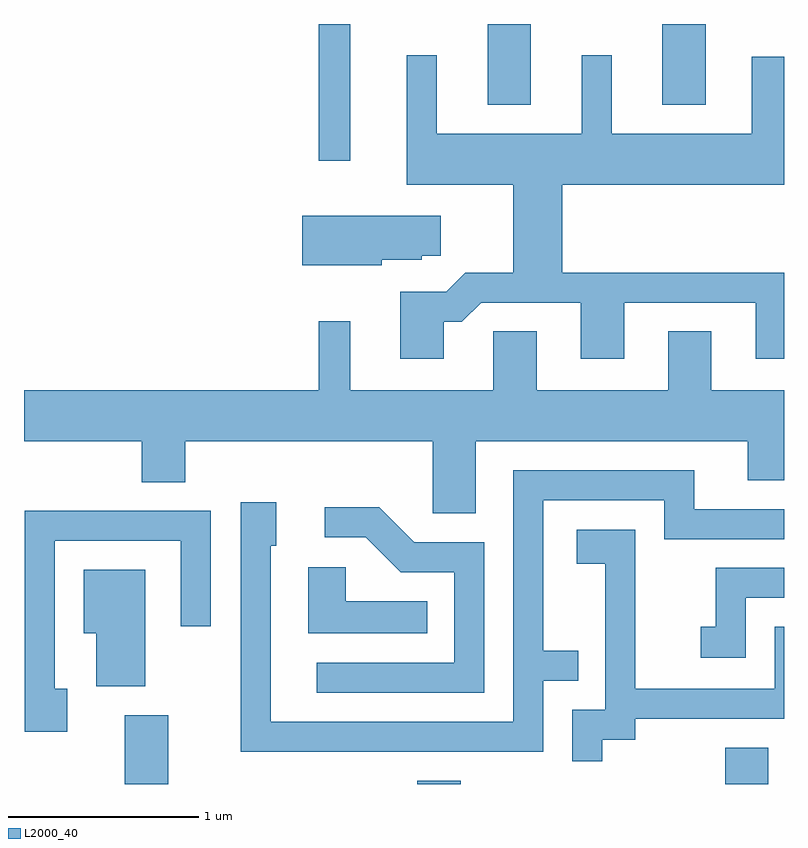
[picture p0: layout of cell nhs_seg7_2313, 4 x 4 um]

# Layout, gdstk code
import gdstk
lib = gdstk.Library(unit=1e-6, precision=1e-09)
def R(c, l, rs):  # rectangles x0, y0, x1, y1
    for r in rs: c.add(gdstk.rectangle(r[:2], r[2:], *l))
def P(c, l, *ps):  # polygons
    for p in ps: c.add(gdstk.Polygon(p, *l))
L2000_40 = (2000, 40)

nhs_seg7_2313 = lib.new_cell('nhs_seg7_2313')
R(nhs_seg7_2313, L2000_40, [(256.141,1750.252,256.369,1750.614), (257.681,1750.252,257.909,1750.269), (259.301,1750.252,259.529,1750.444), (257.161,1753.533,257.329,1754.252), (258.051,1753.826,258.279,1754.252), (258.971,1753.826,259.199,1754.252)])
P(nhs_seg7_2313, L2000_40, [(257.819,1752.686),(257.916,1752.686),(258.017,1752.786),(258.541,1752.786),(258.541,1752.491),(258.769,1752.491),(258.769,1752.786),(259.461,1752.786),(259.461,1752.491),(259.611,1752.491),(259.611,1752.944),(258.444,1752.944),(258.444,1753.406),(259.611,1753.406),(259.611,1754.079),(259.441,1754.079),(259.441,1753.674),(258.704,1753.674),(258.704,1754.088),(258.546,1754.088),(258.546,1753.674),(257.784,1753.674),(257.784,1754.088),(257.626,1754.088),(257.626,1753.406),(258.186,1753.406),(258.186,1752.944),(257.933,1752.944),(257.834,1752.844),(257.591,1752.844),(257.591,1752.491),(257.819,1752.491)],
  [(257.494,1753.011),(257.704,1753.011),(257.704,1753.031),(257.804,1753.031),(257.804,1753.244),(257.076,1753.244),(257.076,1752.981),(257.494,1752.981)],
  [(257.989,1752.056),(259.421,1752.056),(259.421,1751.851),(259.611,1751.851),(259.611,1752.324),(259.229,1752.324),(259.229,1752.634),(259.001,1752.634),(259.001,1752.324),(258.309,1752.324),(258.309,1752.634),(258.081,1752.634),(258.081,1752.324),(257.329,1752.324),(257.329,1752.688),(257.161,1752.688),(257.161,1752.324),(255.611,1752.324),(255.611,1752.056),(256.231,1752.056),(256.231,1751.841),(256.459,1751.841),(256.459,1752.056),(257.761,1752.056),(257.761,1751.676),(257.989,1751.676)],
  [(258.344,1750.796),(258.528,1750.796),(258.528,1750.954),(258.344,1750.954),(258.344,1751.746),(258.981,1751.746),(258.981,1751.541),(259.611,1751.541),(259.611,1751.699),(259.139,1751.699),(259.139,1751.904),(258.186,1751.904),(258.186,1750.579),(256.909,1750.579),(256.909,1751.506),(256.939,1751.506),(256.939,1751.734),(256.751,1751.734),(256.751,1750.421),(258.344,1750.421)],
  [(258.034,1751.524),(257.666,1751.524),(257.481,1751.709),(257.193,1751.709),(257.193,1751.551),(257.409,1751.551),(257.594,1751.366),(257.876,1751.366),(257.876,1750.889),(257.153,1750.889),(257.153,1750.731),(258.034,1750.731)],
  [(255.839,1750.754),(255.774,1750.754),(255.774,1751.531),(256.436,1751.531),(256.436,1751.083),(256.594,1751.083),(256.594,1751.689),(255.616,1751.689),(255.616,1750.526),(255.839,1750.526)],
  [(258.654,1750.486),(258.829,1750.486),(258.829,1750.596),(259.611,1750.596),(259.611,1751.079),(259.561,1751.079),(259.561,1750.754),(258.829,1750.754),(258.829,1751.589),(258.521,1751.589),(258.521,1751.411),(258.671,1751.411),(258.671,1750.644),(258.496,1750.644),(258.496,1750.373),(258.654,1750.373)],
  [(257.733,1751.214),(257.304,1751.214),(257.304,1751.394),(257.106,1751.394),(257.106,1751.046),(257.733,1751.046)],
  [(259.409,1751.231),(259.611,1751.231),(259.611,1751.389),(259.251,1751.389),(259.251,1751.079),(259.173,1751.079),(259.173,1750.916),(259.409,1750.916)],
  [(256.249,1751.379),(255.926,1751.379),(255.926,1751.046),(255.991,1751.046),(255.991,1750.766),(256.249,1750.766)])

lib.write_gds('nhs_seg7_2313.gds')
